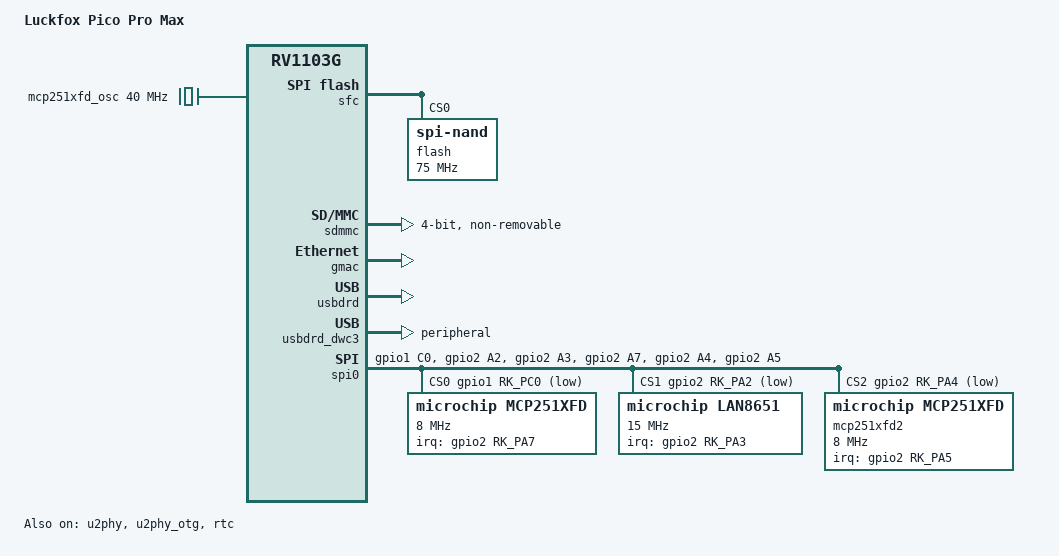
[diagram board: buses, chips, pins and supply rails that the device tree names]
// SPDX-License-Identifier: (GPL-2.0+ OR MIT)
/*
 * Copyright (c) 2022 Rockchip Electronics Co., Ltd.
 */

/dts-v1/;

#include "rv1106.dtsi"
#include "rv1106-evb.dtsi"
#include "rv1106-luckfox-pico-pro-max-ipc.dtsi"

/ {
	model = "Luckfox Pico Pro Max";
	compatible = "rockchip,rv1103g-38x38-ipc-v10", "rockchip,rv1106g3";

	/*
	 * Shared oscillator for both MCP251863 modules (can@0 and can@2).
	 * Must match the actual X1 crystal on the modules: the driver takes
	 * this as SYSCLK directly (it never enables the MCP's PLL), so a
	 * mismatch silently scales every bit rate - the link reports the
	 * requested bitrate while the wire runs at another.
	 *
	 * 40 MHz is bench-verified on the Ultra, NOT a guess: at 20 MHz the
	 * driver computes tq 50ns and both channels go silent; at 40 MHz it
	 * computes tq 25ns / brp 1, which divides to exactly 500 kbit/s and
	 * passes traffic both ways. Schematic 89-S&C-R0 shows a 20 MHz X1 -
	 * that symbol does not match the modules fitted. Do not "correct"
	 * this to 20 MHz.
	 */
	mcp251xfd_osc: mcp251xfd-osc {
		compatible = "fixed-clock";
		#clock-cells = <0>;
		clock-frequency = <40000000>;
	};
};

/*
 * Expansion board (LAN8651 10BASE-T1S + two MCP251863 CAN FD controllers).
 *
 * The Pro/Max header is smaller than the Ultra's and does not break out
 * GPIO1_A0/A1/B0, while GPIO1_B2/B3 are the default UART2 console. Five nets
 * are therefore on different pins than the Ultra - see Table 2 in
 * README_EXPANSION_BOARD_PINOUT.md, which is the authority for the wiring:
 *
 *   LAN_CSN  GPIO1_B2 -> GPIO2_A2      LAN_RST  GPIO1_B0 -> GPIO1_C6
 *   LAN_IRQ  GPIO1_B3 -> GPIO2_A3      I2C SCL  GPIO1_A0 -> GPIO2_A1
 *                                      I2C SDA  GPIO1_A1 -> GPIO2_A0
 *
 * The SPI bus itself (GPIO1_C1/C2/C3), CAN1's CS (GPIO1_C0) and INT
 * (GPIO2_A7), and CAN2's CS/INT (GPIO2_A4/A5) are the same pins on both
 * boards, so only the adapter wiring differs - not this device tree's shape.
 */
&pinctrl {
	lan8651 {
		lan8651_cs_pin: lan8651-cs-pin {
			rockchip,pins = <2 RK_PA2 RK_FUNC_GPIO &pcfg_pull_none>;
		};

		lan8651_int_pin: lan8651-int-pin {
			rockchip,pins = <2 RK_PA3 RK_FUNC_GPIO &pcfg_pull_up>;
		};
	};

	mcp251xfd {
		/*
		 * SPI0 CS0 pin (GPIO1_C0) driven as a plain GPIO chip-select.
		 * The Rockchip SPI controller (SPI_MASTER_GPIO_SS) also asserts
		 * native SER[0] on every GPIO-CS transfer, so the MCP must NOT
		 * sit on native CS0 while the other devices use a GPIO CS -
		 * otherwise their traffic re-selects the CAN controller and
		 * corrupts it. Making every device GPIO-CS keeps them isolated.
		 */
		mcp251xfd_cs_pin: mcp251xfd-cs-pin {
			rockchip,pins = <1 RK_PC0 RK_FUNC_GPIO &pcfg_pull_up>;
		};

		mcp251xfd_int_pin: mcp251xfd-int-pin {
			rockchip,pins = <2 RK_PA7 RK_FUNC_GPIO &pcfg_pull_up>;
		};
	};

	mcp251xfd2 {
		/*
		 * Second MCP251863 on the same SPI0 bus, GPIO chip-select for
		 * the same reason as above. GPIO2_A4/A5 are otherwise idle on
		 * this board and, like the Ultra, their alternate mux is
		 * UART1_M1 - which nothing here uses.
		 * NOTE: the pad default bias for this pair is pull-down (cf.
		 * sdmmc1m0_idle_pins), so CS needs an external 10k pull-up to
		 * keep it deasserted before pinctrl runs at boot.
		 */
		mcp251xfd2_cs_pin: mcp251xfd2-cs-pin {
			rockchip,pins = <2 RK_PA4 RK_FUNC_GPIO &pcfg_pull_up>;
		};

		mcp251xfd2_int_pin: mcp251xfd2-int-pin {
			rockchip,pins = <2 RK_PA5 RK_FUNC_GPIO &pcfg_pull_up>;
		};
	};
};

/**********CRU**********/
//&cru {
//	assigned-clocks =
//		<&cru PLL_GPLL>, <&cru PLL_CPLL>,
//		<&cru ARMCLK>,
//		<&cru ACLK_PERI_ROOT>, <&cru HCLK_PERI_ROOT>,
//		<&cru PCLK_PERI_ROOT>, <&cru ACLK_BUS_ROOT>,
//		<&cru PCLK_TOP_ROOT>, <&cru PCLK_PMU_ROOT>,
//		<&cru HCLK_PMU_ROOT>, <&cru CLK_500M_SRC>;
//	assigned-clock-rates =
//		<1188000000>, <700000000>,
//		<1104000000>,
//		<400000000>, <200000000>,
//		<100000000>, <300000000>,
//		<100000000>, <100000000>,
//		<200000000>, <700000000>;
//};

/**********NPU**********/
//&npu {
//	assigned-clock-rates = <700000000>;
//};

/**********FLASH**********/
&sfc {
	status = "okay";
	flash@0 {
		compatible = "spi-nand";
		reg = <0>;
		spi-max-frequency = <75000000>;
		spi-rx-bus-width = <4>;
		spi-tx-bus-width = <1>;
	};
};

/**********SDMMC**********/
&sdmmc {
	max-freqency = <50000000>;
	no-mmc;
	bus-width = <4>;
	cap-mmc-highspeed;
	cap-sd-highspeed;
	disable-wp;

	//sdio
	cap-sdio-irq;
	non-removable;
	no-1-8-v;
	supports-sdio;

	pinctrl-names = "default";
	pinctrl-0 = <&sdmmc0_clk &sdmmc0_cmd &sdmmc0_det &sdmmc0_bus4>;
	status = "okay";
};

/**********ETH**********/
&gmac {
	status = "okay";
};

/**********USB**********/
&u2phy {
	status = "okay";
};

&u2phy_otg {
	rockchip,dis-u2-susphy;
	status = "okay";
};

&usbdrd {
	status = "okay";
};

&usbdrd_dwc3 {
	status = "okay";
	dr_mode = "peripheral";
};

/**********SPI**********/
&spi0 {
	status = "okay";
	num-cs = <3>;
	/*
	 * CS0 = MCP251xFD #1 (GPIO1_C0), CS1 = LAN8651 (GPIO2_A2),
	 * CS2 = MCP251xFD #2 (GPIO2_A4); all GPIO, no native CS.
	 */
	cs-gpios = <&gpio1 RK_PC0 GPIO_ACTIVE_LOW>,
		   <&gpio2 RK_PA2 GPIO_ACTIVE_LOW>,
		   <&gpio2 RK_PA4 GPIO_ACTIVE_LOW>;
	pinctrl-names = "default";
	pinctrl-0 = <&spi0m0_clk &spi0m0_miso &spi0m0_mosi &mcp251xfd_cs_pin
			     &lan8651_cs_pin &lan8651_int_pin &mcp251xfd_int_pin
			     &mcp251xfd2_cs_pin &mcp251xfd2_int_pin>;
	/delete-node/ spidev@0;
	/delete-node/ fbtft@0;

	mcp251xfd: can@0 {
		compatible = "microchip,mcp251xfd";
		reg = <0>;
		/* 8 MHz: derated from 10 MHz (ADR-013; chip max is 17 MHz = 85% of
		 * SYSCLK/2 at 40 MHz) after CRC read errors on the shared SPI0 bus.
		 * Keeps ~1.6x headroom over worst-case CAN FD 500k/2M SPI traffic;
		 * do not lower further - transfers would occupy the shared bus even
		 * longer, delaying LAN8651 OA-TC6 data-path servicing. */
		spi-max-frequency = <8000000>;
		clocks = <&mcp251xfd_osc>;
		interrupt-parent = <&gpio2>;
		interrupts = <RK_PA7 IRQ_TYPE_LEVEL_LOW>;
		status = "okay";
	};

	lan8651: ethernet@1 {
		compatible = "microchip,lan8651";
		reg = <1>;
		/* 15 MHz: 25 MHz caused OA-TC6 'ctrl write echo mismatch' on the
		 * shared SPI0 bus (cf. MCP251863 at 10 MHz, ADR-013). See the Ultra
		 * DTS for the full derating history. */
		spi-max-frequency = <15000000>;
		interrupt-parent = <&gpio2>;
		interrupts = <RK_PA3 IRQ_TYPE_EDGE_FALLING>;
		microchip,plca-enable;
		microchip,plca-node-id = <0>;	/* 0 = PLCA coordinator (generates the BEACON) */
		microchip,plca-node-count = <8>;
		status = "okay";
	};

	mcp251xfd2: can@2 {
		compatible = "microchip,mcp251xfd";
		reg = <2>;
		/* Same derate as can@0 - see the comment there. */
		spi-max-frequency = <8000000>;
		clocks = <&mcp251xfd_osc>;
		interrupt-parent = <&gpio2>;
		interrupts = <RK_PA5 IRQ_TYPE_LEVEL_LOW>;
		status = "okay";
	};
};

/**********I2C**********/
/* I2C3_M1 */
&i2c3 {
	status = "disabled";
	clock-frequency = <100000>;
};

/* I2C1_M1 */
&i2c1 {
	status = "disabled";
	clock-frequency = <100000>;
};


/**********UART**********/
/* UART3_M1 */
&uart3 {
	status = "disabled";
};

/* UART4_M1 */
&uart4 {
	status = "disabled";
};

/**********RTC**********/
&rtc {
	status = "okay";
};
